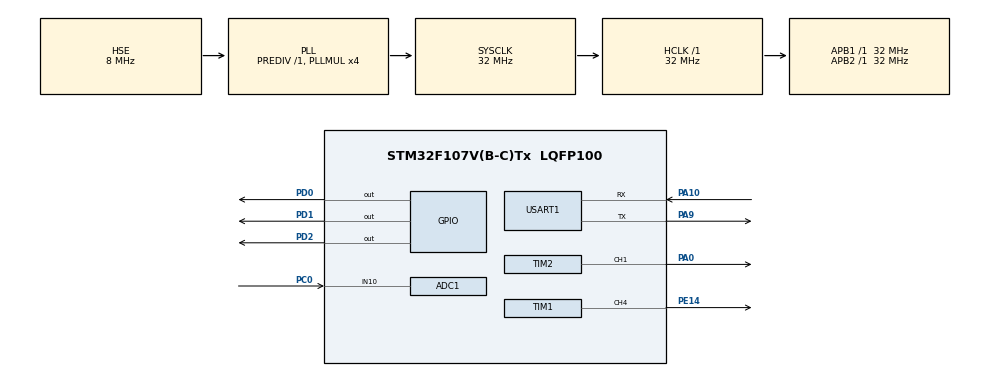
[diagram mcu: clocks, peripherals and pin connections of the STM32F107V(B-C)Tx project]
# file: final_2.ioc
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ADC1.Channel-0\#ChannelRegularConversion=ADC_CHANNEL_10
ADC1.NbrOfConversionFlag=1
ADC1.Rank-0\#ChannelRegularConversion=1
ADC1.SamplingTime-0\#ChannelRegularConversion=ADC_SAMPLETIME_1CYCLE_5
ADC1.master=1
Mcu.Family=STM32F1
Mcu.Name=STM32F107V(B-C)Tx
Mcu.Package=LQFP100
NVIC.PriorityGroup=NVIC_PRIORITYGROUP_4
NVIC.USART1_IRQn=true\:0\:0\:false\:false\:true\:true\:true
OSC_IN.Mode=HSE-External-Oscillator
OSC_IN.Signal=RCC_OSC_IN
OSC_OUT.Mode=HSE-External-Oscillator
OSC_OUT.Signal=RCC_OSC_OUT
PA0-WKUP.Signal=S_TIM2_CH1_ETR
PA10.Mode=Asynchronous
PA10.Signal=USART1_RX
PA13.Mode=Serial_Wire
PA13.Signal=SYS_JTMS-SWDIO
PA14.Mode=Serial_Wire
PA14.Signal=SYS_JTCK-SWCLK
PA9.Mode=Asynchronous
PA9.Signal=USART1_TX
PC0.Signal=ADCx_IN10
PD0.Signal=GPIO_Output
PD1.Signal=GPIO_Output
PD2.Signal=GPIO_Output
PE14.Signal=S_TIM1_CH4
ProjectManager.HeapSize=0x200
ProjectManager.StackSize=0x400
ProjectManager.TargetToolchain=STM32CubeIDE
RCC.ADCPresc=RCC_ADCPCLK2_DIV4
RCC.AHBFreq_Value=32000000
RCC.APB1Freq_Value=32000000
RCC.APB1TimFreq_Value=32000000
RCC.APB2Freq_Value=32000000
RCC.APB2TimFreq_Value=32000000
RCC.HCLKFreq_Value=32000000
RCC.PLLSourceVirtual=RCC_PLLSOURCE_HSE
RCC.SYSCLKFreq_VALUE=32000000
RCC.SYSCLKSource=RCC_SYSCLKSOURCE_PLLCLK
RCC.USBFreq_Value=21333333.333333332
SH.ADCx_IN10.0=ADC1_IN10,IN10
SH.S_TIM1_CH4.0=TIM1_CH4,PWM Generation4 CH4
SH.S_TIM2_CH1_ETR.0=TIM2_CH1,PWM Generation1 CH1
TIM1.Channel-PWM\ Generation4\ CH4=TIM_CHANNEL_4
TIM1.Period=1000
TIM1.Prescaler=32000
TIM1.Pulse-PWM\ Generation4\ CH4=500
TIM2.Channel-PWM\ Generation1\ CH1=TIM_CHANNEL_1
TIM2.Period=1799
TIM2.Prescaler=355
USART1.VirtualMode=VM_ASYNC
VP_TIM1_VS_ClockSourceINT.Mode=Internal
board=custom

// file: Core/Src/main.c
/* USER CODE BEGIN Header */
/**
 ******************************************************************************
 * @file           : main.c
 * @brief          : Main program body
 ******************************************************************************
 * @attention
 *
 * <h2><center>&copy; Copyright (c) 2020 STMicroelectronics.
 * All rights reserved.</center></h2>
 *
 * This software component is licensed by ST under BSD 3-Clause license,
 * the "License"; You may not use this file except in compliance with the
 * License. You may obtain a copy of the License at:
 *                        opensource.org/licenses/BSD-3-Clause
 *
 ******************************************************************************
 */
/* USER CODE END Header */

#include "main.h"

ADC_HandleTypeDef hadc1;

TIM_HandleTypeDef htim1;
TIM_HandleTypeDef htim2;

UART_HandleTypeDef huart1;

void SystemClock_Config(void);
static void MX_GPIO_Init(void);
static void MX_ADC1_Init(void);
static void MX_TIM1_Init(void);
static void MX_TIM2_Init(void);
static void MX_USART1_UART_Init(void);

/* USER CODE BEGIN 0 */
void servo_angle(int angle) {

	angle = angle + 36;

	__HAL_TIM_SET_COMPARE(&htim2, TIM_CHANNEL_1, angle);
}
/* USER CODE END 0 */

int main(void)
{

	/* MCU Configuration--------------------------------------------------------*/

	/* Reset of all peripherals, Initializes the Flash interface and the Systick. */
	HAL_Init();

	/* Configure the system clock */
	SystemClock_Config();

	/* Initialize all configured peripherals */
	MX_GPIO_Init();
	MX_ADC1_Init();
	MX_TIM1_Init();
	MX_TIM2_Init();
	MX_USART1_UART_Init();
	/* USER CODE BEGIN 2 */
	HAL_TIM_PWM_Start(&htim2, TIM_CHANNEL_1);

	uint8_t number = 1;

	/* USER CODE END 2 */

	/* Infinite loop */
	/* USER CODE BEGIN WHILE */

	while (1)
	{
		uint16_t analogRead;
		/* USER CODE END WHILE */

		/* USER CODE BEGIN 3 */

		HAL_ADC_Start(&hadc1);
		if (HAL_ADC_PollForConversion(&hadc1, 1000) == HAL_OK) {
			analogRead = HAL_ADC_GetValue(&hadc1);
			if (analogRead < 400) {
				analogRead == 400;
			} if (analogRead > 4000) {
				analogRead == 4000;
			}
		}

		if (analogRead > 0 && analogRead < 500) {
			HAL_Delay(2000);
			HAL_GPIO_WritePin(GPIOD, GPIO_PIN_0, GPIO_PIN_RESET);
			HAL_GPIO_WritePin(GPIOD, GPIO_PIN_1, GPIO_PIN_RESET);
			HAL_GPIO_WritePin(GPIOD, GPIO_PIN_2, GPIO_PIN_RESET);
		} else if (analogRead > 500 && analogRead < 1002) {
			HAL_Delay(2000);
			HAL_GPIO_WritePin(GPIOD, GPIO_PIN_0, GPIO_PIN_SET);
			HAL_GPIO_WritePin(GPIOD, GPIO_PIN_1, GPIO_PIN_RESET);
			HAL_GPIO_WritePin(GPIOD, GPIO_PIN_2, GPIO_PIN_RESET);
		} else if (analogRead > 1002 && analogRead < 1504) {
			HAL_Delay(2000);
			HAL_GPIO_WritePin(GPIOD, GPIO_PIN_0, GPIO_PIN_SET);
			HAL_GPIO_WritePin(GPIOD, GPIO_PIN_1, GPIO_PIN_SET);
			HAL_GPIO_WritePin(GPIOD, GPIO_PIN_2, GPIO_PIN_RESET);
		} else if (analogRead > 1504 && analogRead < 2008) {
			HAL_GPIO_WritePin(GPIOD, GPIO_PIN_0, GPIO_PIN_SET);
			HAL_GPIO_WritePin(GPIOD, GPIO_PIN_1, GPIO_PIN_SET);
			HAL_GPIO_WritePin(GPIOD, GPIO_PIN_2, GPIO_PIN_SET);
		} else if (analogRead > 2008 && analogRead < 4010) {

			HAL_TIM_PWM_Start(&htim1, TIM_CHANNEL_4);
			HAL_Delay((4000-analogRead)/100 + 2);
			HAL_TIM_PWM_Stop(&htim1, TIM_CHANNEL_4);
			HAL_GPIO_TogglePin(GPIOD, GPIO_PIN_0);
			HAL_GPIO_TogglePin(GPIOD, GPIO_PIN_1);
			HAL_GPIO_TogglePin(GPIOD, GPIO_PIN_2);
			for (int i=0; i<=180; i++) {
				servo_angle(i);
				HAL_Delay((4000-analogRead)/100 + 2);
			}
			HAL_UART_Transmit(&huart1, &number, sizeof(number), HAL_MAX_DELAY);
		}
	}
	/* USER CODE END 3 */
}

void SystemClock_Config(void)
{
	RCC_OscInitTypeDef RCC_OscInitStruct = {0};
	RCC_ClkInitTypeDef RCC_ClkInitStruct = {0};
	RCC_PeriphCLKInitTypeDef PeriphClkInit = {0};

	/** Initializes the CPU, AHB and APB busses clocks
	 */
	RCC_OscInitStruct.OscillatorType = RCC_OSCILLATORTYPE_HSE;
	RCC_OscInitStruct.HSEState = RCC_HSE_ON;
	RCC_OscInitStruct.HSEPredivValue = RCC_HSE_PREDIV_DIV1;
	RCC_OscInitStruct.HSIState = RCC_HSI_ON;
	RCC_OscInitStruct.Prediv1Source = RCC_PREDIV1_SOURCE_HSE;
	RCC_OscInitStruct.PLL.PLLState = RCC_PLL_ON;
	RCC_OscInitStruct.PLL.PLLSource = RCC_PLLSOURCE_HSE;
	RCC_OscInitStruct.PLL.PLLMUL = RCC_PLL_MUL4;
	RCC_OscInitStruct.PLL2.PLL2State = RCC_PLL_NONE;
	if (HAL_RCC_OscConfig(&RCC_OscInitStruct) != HAL_OK)
	{
		Error_Handler();
	}
	/** Initializes the CPU, AHB and APB busses clocks
	 */
	RCC_ClkInitStruct.ClockType = RCC_CLOCKTYPE_HCLK|RCC_CLOCKTYPE_SYSCLK
			|RCC_CLOCKTYPE_PCLK1|RCC_CLOCKTYPE_PCLK2;
	RCC_ClkInitStruct.SYSCLKSource = RCC_SYSCLKSOURCE_PLLCLK;
	RCC_ClkInitStruct.AHBCLKDivider = RCC_SYSCLK_DIV1;
	RCC_ClkInitStruct.APB1CLKDivider = RCC_HCLK_DIV1;
	RCC_ClkInitStruct.APB2CLKDivider = RCC_HCLK_DIV1;

	if (HAL_RCC_ClockConfig(&RCC_ClkInitStruct, FLASH_LATENCY_1) != HAL_OK)
	{
		Error_Handler();
	}
	PeriphClkInit.PeriphClockSelection = RCC_PERIPHCLK_ADC;
	PeriphClkInit.AdcClockSelection = RCC_ADCPCLK2_DIV4;
	if (HAL_RCCEx_PeriphCLKConfig(&PeriphClkInit) != HAL_OK)
	{
		Error_Handler();
	}
	/** Configure the Systick interrupt time
	 */
	__HAL_RCC_PLLI2S_ENABLE();
}

static void MX_ADC1_Init(void)
{

	ADC_ChannelConfTypeDef sConfig = {0};

	/** Common config
	 */
	hadc1.Instance = ADC1;
	hadc1.Init.ScanConvMode = ADC_SCAN_DISABLE;
	hadc1.Init.ContinuousConvMode = DISABLE;
	hadc1.Init.DiscontinuousConvMode = DISABLE;
	hadc1.Init.ExternalTrigConv = ADC_SOFTWARE_START;
	hadc1.Init.DataAlign = ADC_DATAALIGN_RIGHT;
	hadc1.Init.NbrOfConversion = 1;
	if (HAL_ADC_Init(&hadc1) != HAL_OK)
	{
		Error_Handler();
	}
	/** Configure Regular Channel
	 */
	sConfig.Channel = ADC_CHANNEL_10;
	sConfig.Rank = ADC_REGULAR_RANK_1;
	sConfig.SamplingTime = ADC_SAMPLETIME_1CYCLE_5;
	if (HAL_ADC_ConfigChannel(&hadc1, &sConfig) != HAL_OK)
	{
		Error_Handler();
	}

}

static void MX_TIM1_Init(void)
{

	TIM_ClockConfigTypeDef sClockSourceConfig = {0};
	TIM_MasterConfigTypeDef sMasterConfig = {0};
	TIM_OC_InitTypeDef sConfigOC = {0};
	TIM_BreakDeadTimeConfigTypeDef sBreakDeadTimeConfig = {0};

	htim1.Instance = TIM1;
	htim1.Init.Prescaler = 32000;
	htim1.Init.CounterMode = TIM_COUNTERMODE_UP;
	htim1.Init.Period = 1000;
	htim1.Init.ClockDivision = TIM_CLOCKDIVISION_DIV1;
	htim1.Init.RepetitionCounter = 0;
	htim1.Init.AutoReloadPreload = TIM_AUTORELOAD_PRELOAD_DISABLE;
	if (HAL_TIM_Base_Init(&htim1) != HAL_OK)
	{
		Error_Handler();
	}
	sClockSourceConfig.ClockSource = TIM_CLOCKSOURCE_INTERNAL;
	if (HAL_TIM_ConfigClockSource(&htim1, &sClockSourceConfig) != HAL_OK)
	{
		Error_Handler();
	}
	if (HAL_TIM_PWM_Init(&htim1) != HAL_OK)
	{
		Error_Handler();
	}
	sMasterConfig.MasterOutputTrigger = TIM_TRGO_RESET;
	sMasterConfig.MasterSlaveMode = TIM_MASTERSLAVEMODE_DISABLE;
	if (HAL_TIMEx_MasterConfigSynchronization(&htim1, &sMasterConfig) != HAL_OK)
	{
		Error_Handler();
	}
	sConfigOC.OCMode = TIM_OCMODE_PWM1;
	sConfigOC.Pulse = 500;
	sConfigOC.OCPolarity = TIM_OCPOLARITY_HIGH;
	sConfigOC.OCFastMode = TIM_OCFAST_DISABLE;
	sConfigOC.OCIdleState = TIM_OCIDLESTATE_RESET;
	sConfigOC.OCNIdleState = TIM_OCNIDLESTATE_RESET;
	if (HAL_TIM_PWM_ConfigChannel(&htim1, &sConfigOC, TIM_CHANNEL_4) != HAL_OK)
	{
		Error_Handler();
	}
	sBreakDeadTimeConfig.OffStateRunMode = TIM_OSSR_DISABLE;
	sBreakDeadTimeConfig.OffStateIDLEMode = TIM_OSSI_DISABLE;
	sBreakDeadTimeConfig.LockLevel = TIM_LOCKLEVEL_OFF;
	sBreakDeadTimeConfig.DeadTime = 0;
	sBreakDeadTimeConfig.BreakState = TIM_BREAK_DISABLE;
	sBreakDeadTimeConfig.BreakPolarity = TIM_BREAKPOLARITY_HIGH;
	sBreakDeadTimeConfig.AutomaticOutput = TIM_AUTOMATICOUTPUT_DISABLE;
	if (HAL_TIMEx_ConfigBreakDeadTime(&htim1, &sBreakDeadTimeConfig) != HAL_OK)
	{
		Error_Handler();
	}
	HAL_TIM_MspPostInit(&htim1);

}

static void MX_TIM2_Init(void)
{

	TIM_MasterConfigTypeDef sMasterConfig = {0};
	TIM_OC_InitTypeDef sConfigOC = {0};

	htim2.Instance = TIM2;
	htim2.Init.Prescaler = 355;
	htim2.Init.CounterMode = TIM_COUNTERMODE_UP;
	htim2.Init.Period = 1799;
	htim2.Init.ClockDivision = TIM_CLOCKDIVISION_DIV1;
	htim2.Init.AutoReloadPreload = TIM_AUTORELOAD_PRELOAD_DISABLE;
	if (HAL_TIM_PWM_Init(&htim2) != HAL_OK)
	{
		Error_Handler();
	}
	sMasterConfig.MasterOutputTrigger = TIM_TRGO_RESET;
	sMasterConfig.MasterSlaveMode = TIM_MASTERSLAVEMODE_DISABLE;
	if (HAL_TIMEx_MasterConfigSynchronization(&htim2, &sMasterConfig) != HAL_OK)
	{
		Error_Handler();
	}
	sConfigOC.OCMode = TIM_OCMODE_PWM1;
	sConfigOC.Pulse = 0;
	sConfigOC.OCPolarity = TIM_OCPOLARITY_HIGH;
	sConfigOC.OCFastMode = TIM_OCFAST_DISABLE;
	if (HAL_TIM_PWM_ConfigChannel(&htim2, &sConfigOC, TIM_CHANNEL_1) != HAL_OK)
	{
		Error_Handler();
	}
	HAL_TIM_MspPostInit(&htim2);

}

static void MX_USART1_UART_Init(void)
{

	huart1.Instance = USART1;
	huart1.Init.BaudRate = 115200;
	huart1.Init.WordLength = UART_WORDLENGTH_8B;
	huart1.Init.StopBits = UART_STOPBITS_1;
	huart1.Init.Parity = UART_PARITY_NONE;
	huart1.Init.Mode = UART_MODE_TX_RX;
	huart1.Init.HwFlowCtl = UART_HWCONTROL_NONE;
	huart1.Init.OverSampling = UART_OVERSAMPLING_16;
	if (HAL_UART_Init(&huart1) != HAL_OK)
	{
		Error_Handler();
	}

}

static void MX_GPIO_Init(void)
{
	GPIO_InitTypeDef GPIO_InitStruct = {0};

	/* GPIO Ports Clock Enable */
	__HAL_RCC_GPIOC_CLK_ENABLE();
	__HAL_RCC_GPIOA_CLK_ENABLE();
	__HAL_RCC_GPIOE_CLK_ENABLE();
	__HAL_RCC_GPIOD_CLK_ENABLE();

	/*Configure GPIO pin Output Level */
	HAL_GPIO_WritePin(GPIOD, GPIO_PIN_0|GPIO_PIN_1|GPIO_PIN_2, GPIO_PIN_RESET);

	/*Configure GPIO pins : PD0 PD1 PD2 */
	GPIO_InitStruct.Pin = GPIO_PIN_0|GPIO_PIN_1|GPIO_PIN_2;
	GPIO_InitStruct.Mode = GPIO_MODE_OUTPUT_PP;
	GPIO_InitStruct.Pull = GPIO_NOPULL;
	GPIO_InitStruct.Speed = GPIO_SPEED_FREQ_LOW;
	HAL_GPIO_Init(GPIOD, &GPIO_InitStruct);

}

void Error_Handler(void)
{
}

/************************ (C) COPYRIGHT STMicroelectronics *****END OF FILE****/
